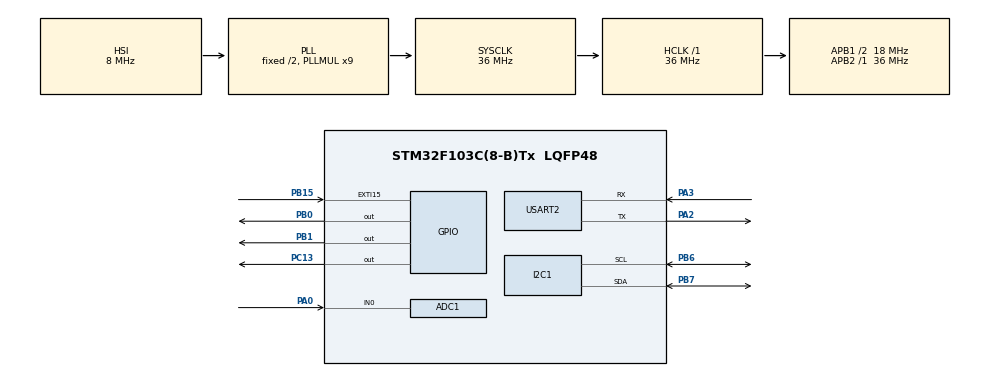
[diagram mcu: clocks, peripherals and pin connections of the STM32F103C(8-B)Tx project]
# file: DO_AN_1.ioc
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ADC1.Channel-2\#ChannelRegularConversion=ADC_CHANNEL_0
ADC1.ContinuousConvMode=ENABLE
ADC1.NbrOfConversionFlag=1
ADC1.Rank-2\#ChannelRegularConversion=1
ADC1.SamplingTime-2\#ChannelRegularConversion=ADC_SAMPLETIME_239CYCLES_5
ADC1.master=1
Mcu.Family=STM32F1
Mcu.Name=STM32F103C(8-B)Tx
Mcu.Package=LQFP48
NVIC.ADC1_2_IRQn=true\:6\:0\:true\:false\:true\:true\:true\:true
NVIC.EXTI15_10_IRQn=true\:0\:0\:false\:false\:true\:true\:true\:true
NVIC.PriorityGroup=NVIC_PRIORITYGROUP_4
NVIC.TIM2_IRQn=true\:5\:0\:true\:false\:true\:true\:true\:true
NVIC.TIM3_IRQn=true\:1\:0\:true\:false\:true\:true\:true\:true
NVIC.USART2_IRQn=true\:0\:0\:false\:false\:true\:true\:true\:true
PA0-WKUP.Signal=ADCx_IN0
PA2.Mode=Asynchronous
PA2.Signal=USART2_TX
PA3.Mode=Asynchronous
PA3.Signal=USART2_RX
PB0.Signal=GPIO_Output
PB1.Signal=GPIO_Output
PB15.GPIO_ModeDefaultEXTI=GPIO_MODE_IT_FALLING
PB15.GPIO_PuPd=GPIO_PULLUP
PB15.Signal=GPXTI15
PB6.Mode=I2C
PB6.Signal=I2C1_SCL
PB7.Mode=I2C
PB7.Signal=I2C1_SDA
PC13-TAMPER-RTC.Signal=GPIO_Output
PD0-OSC_IN.Mode=HSE-External-Oscillator
PD0-OSC_IN.Signal=RCC_OSC_IN
PD1-OSC_OUT.Mode=HSE-External-Oscillator
PD1-OSC_OUT.Signal=RCC_OSC_OUT
ProjectManager.HeapSize=0x200
ProjectManager.StackSize=0x400
ProjectManager.TargetToolchain=MDK-ARM V5.32
RCC.ADCPresc=RCC_ADCPCLK2_DIV4
RCC.AHBFreq_Value=36000000
RCC.APB1CLKDivider=RCC_HCLK_DIV2
RCC.APB1Freq_Value=18000000
RCC.APB1TimFreq_Value=36000000
RCC.APB2Freq_Value=36000000
RCC.APB2TimFreq_Value=36000000
RCC.HCLKFreq_Value=36000000
RCC.PLLMUL=RCC_PLL_MUL9
RCC.SYSCLKFreq_VALUE=36000000
RCC.SYSCLKSource=RCC_SYSCLKSOURCE_PLLCLK
RCC.USBFreq_Value=36000000
SH.ADCx_IN0.0=ADC1_IN0,IN0
TIM1.AutoReloadPreload=TIM_AUTORELOAD_PRELOAD_ENABLE
TIM1.Period=65535
TIM1.Prescaler=35
TIM2.AutoReloadPreload=TIM_AUTORELOAD_PRELOAD_ENABLE
TIM2.Period=1999
TIM2.Prescaler=35
TIM3.AutoReloadPreload=TIM_AUTORELOAD_PRELOAD_ENABLE
TIM3.Period=49999
TIM3.Prescaler=35
TIM4.Prescaler=35
USART2.VirtualMode=VM_ASYNC
VP_SYS_VS_ND.Mode=No_Debug
VP_TIM1_VS_ClockSourceINT.Mode=Internal
VP_TIM2_VS_ClockSourceINT.Mode=Internal
VP_TIM3_VS_ClockSourceINT.Mode=Internal
VP_TIM4_VS_ClockSourceINT.Mode=Internal
board=custom

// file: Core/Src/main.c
/* USER CODE BEGIN Header */
/**
 ******************************************************************************
 * @file           : main.c
 * @brief          : Main program body
 ******************************************************************************
 * @attention
 *
 * Copyright (c) 2024 STMicroelectronics.
 * All rights reserved.
 *
 * This software is licensed under terms that can be found in the LICENSE file
 * in the root directory of this software component.
 * If no LICENSE file comes with this software, it is provided AS-IS.
 *
 ******************************************************************************
 */
/* USER CODE END Header */
#include "main.h"

/* USER CODE BEGIN Includes */
#include "humd.h"
#include "Temp.h"
#include "LCD_I2C.h"
#include "Queue.h"
#include "string.h"
/* USER CODE END Includes */

/* USER CODE BEGIN PTD */
typedef enum user
{
  Mode_Normal,
  Mode_Humd,
  Mode_Temp
} user_t;
user_t Mode = Mode_Normal;
/* USER CODE END PTD */

/* USER CODE BEGIN PD */
#define TIMEOUT_ADC 500U
#define UART_BUFFER_LEN 6
#define START_BYTE 1
#define END_BYTE 2
#define ERROR_FRAME 3
/* USER CODE END PD */

ADC_HandleTypeDef hadc1;

I2C_HandleTypeDef hi2c1;

TIM_HandleTypeDef htim1;
TIM_HandleTypeDef htim2;
TIM_HandleTypeDef htim3;
TIM_HandleTypeDef htim4;

UART_HandleTypeDef huart2;

/* USER CODE BEGIN PV */
queue_t xQueue[10] = {None, NULL};
int check;
int check10;
int check3;
uint16_t frequency;
uint16_t Humd1;
uint16_t humd;
uint16_t frequency1;
uint8_t current;
uint8_t flag_ADC = 0;
uint8_t period;

// UART
uint8_t ucRxData;
uint8_t ucRxBuffer[UART_BUFFER_LEN] = {0};
uint8_t ucRxFlag = 0;
uint8_t ucRxCnt = 0;
uint8_t ucRxBuffer_c[6];

/* USER CODE END PV */

void SystemClock_Config(void);
static void MX_GPIO_Init(void);
static void MX_I2C1_Init(void);
static void MX_TIM1_Init(void);
static void MX_ADC1_Init(void);
static void MX_USART2_UART_Init(void);
static void MX_TIM2_Init(void);
static void MX_TIM3_Init(void);
static void MX_TIM4_Init(void);
/* USER CODE BEGIN PFP */
void Task_Humd(void);
void Task_Temp(void);
void Task_LCD(void);
void Task_UART(void);
/* USER CODE END PFP */

/* USER CODE BEGIN 0 */
void check2()
{
}

/* USER CODE END 0 */

int main(void)
{

  /* MCU Configuration--------------------------------------------------------*/

  /* Reset of all peripherals, Initializes the Flash interface and the Systick. */
  HAL_Init();

  /* Configure the system clock */
  SystemClock_Config();

  /* Initialize all configured peripherals */
  MX_GPIO_Init();
  MX_I2C1_Init();
  MX_TIM1_Init();
  MX_ADC1_Init();
  MX_USART2_UART_Init();
  MX_TIM2_Init();
  MX_TIM3_Init();
  MX_TIM4_Init();
  /* USER CODE BEGIN 2 */
  // check = Sizeof_Queue_Current(xQueue);
  LCD_I2C_Init();
  HAL_TIM_Base_Start(&htim1);
  HAL_TIM_Base_Start_IT(&htim2);
	HAL_TIM_Base_Start_IT(&htim3);
  HAL_UART_Receive_IT(&huart2, &ucRxData, 1);
  /* USER CODE END 2 */

  /* Infinite loop */
  while (1)
  {

    /* USER CODE BEGIN 3 */
    while (Sizeof_Queue_Current(xQueue) != 0)
    {
      //check = Sizeof_Queue_Current(xQueue);
      (*xQueue[Sizeof_Queue_Current(xQueue) - 1].Func)();
    }
  }
  /* USER CODE END 3 */
}

void SystemClock_Config(void)
{
  RCC_OscInitTypeDef RCC_OscInitStruct = {0};
  RCC_ClkInitTypeDef RCC_ClkInitStruct = {0};
  RCC_PeriphCLKInitTypeDef PeriphClkInit = {0};

  /** Initializes the RCC Oscillators according to the specified parameters
  * in the RCC_OscInitTypeDef structure.
  */
  RCC_OscInitStruct.OscillatorType = RCC_OSCILLATORTYPE_HSI;
  RCC_OscInitStruct.HSIState = RCC_HSI_ON;
  RCC_OscInitStruct.HSICalibrationValue = RCC_HSICALIBRATION_DEFAULT;
  RCC_OscInitStruct.PLL.PLLState = RCC_PLL_ON;
  RCC_OscInitStruct.PLL.PLLSource = RCC_PLLSOURCE_HSI_DIV2;
  RCC_OscInitStruct.PLL.PLLMUL = RCC_PLL_MUL9;
  if (HAL_RCC_OscConfig(&RCC_OscInitStruct) != HAL_OK)
  {
    Error_Handler();
  }

  /** Initializes the CPU, AHB and APB buses clocks
  */
  RCC_ClkInitStruct.ClockType = RCC_CLOCKTYPE_HCLK|RCC_CLOCKTYPE_SYSCLK
                              |RCC_CLOCKTYPE_PCLK1|RCC_CLOCKTYPE_PCLK2;
  RCC_ClkInitStruct.SYSCLKSource = RCC_SYSCLKSOURCE_PLLCLK;
  RCC_ClkInitStruct.AHBCLKDivider = RCC_SYSCLK_DIV1;
  RCC_ClkInitStruct.APB1CLKDivider = RCC_HCLK_DIV2;
  RCC_ClkInitStruct.APB2CLKDivider = RCC_HCLK_DIV1;

  if (HAL_RCC_ClockConfig(&RCC_ClkInitStruct, FLASH_LATENCY_1) != HAL_OK)
  {
    Error_Handler();
  }
  PeriphClkInit.PeriphClockSelection = RCC_PERIPHCLK_ADC;
  PeriphClkInit.AdcClockSelection = RCC_ADCPCLK2_DIV4;
  if (HAL_RCCEx_PeriphCLKConfig(&PeriphClkInit) != HAL_OK)
  {
    Error_Handler();
  }
}

static void MX_ADC1_Init(void)
{

  ADC_ChannelConfTypeDef sConfig = {0};

  /** Common config
  */
  hadc1.Instance = ADC1;
  hadc1.Init.ScanConvMode = ADC_SCAN_DISABLE;
  hadc1.Init.ContinuousConvMode = ENABLE;
  hadc1.Init.DiscontinuousConvMode = DISABLE;
  hadc1.Init.ExternalTrigConv = ADC_SOFTWARE_START;
  hadc1.Init.DataAlign = ADC_DATAALIGN_RIGHT;
  hadc1.Init.NbrOfConversion = 1;
  if (HAL_ADC_Init(&hadc1) != HAL_OK)
  {
    Error_Handler();
  }

  /** Configure Regular Channel
  */
  sConfig.Channel = ADC_CHANNEL_0;
  sConfig.Rank = ADC_REGULAR_RANK_1;
  sConfig.SamplingTime = ADC_SAMPLETIME_239CYCLES_5;
  if (HAL_ADC_ConfigChannel(&hadc1, &sConfig) != HAL_OK)
  {
    Error_Handler();
  }

}

static void MX_I2C1_Init(void)
{

  hi2c1.Instance = I2C1;
  hi2c1.Init.ClockSpeed = 100000;
  hi2c1.Init.DutyCycle = I2C_DUTYCYCLE_2;
  hi2c1.Init.OwnAddress1 = 0;
  hi2c1.Init.AddressingMode = I2C_ADDRESSINGMODE_7BIT;
  hi2c1.Init.DualAddressMode = I2C_DUALADDRESS_DISABLE;
  hi2c1.Init.OwnAddress2 = 0;
  hi2c1.Init.GeneralCallMode = I2C_GENERALCALL_DISABLE;
  hi2c1.Init.NoStretchMode = I2C_NOSTRETCH_DISABLE;
  if (HAL_I2C_Init(&hi2c1) != HAL_OK)
  {
    Error_Handler();
  }

}

static void MX_TIM1_Init(void)
{

  TIM_ClockConfigTypeDef sClockSourceConfig = {0};
  TIM_MasterConfigTypeDef sMasterConfig = {0};

  htim1.Instance = TIM1;
  htim1.Init.Prescaler = 35;
  htim1.Init.CounterMode = TIM_COUNTERMODE_UP;
  htim1.Init.Period = 65535;
  htim1.Init.ClockDivision = TIM_CLOCKDIVISION_DIV1;
  htim1.Init.RepetitionCounter = 0;
  htim1.Init.AutoReloadPreload = TIM_AUTORELOAD_PRELOAD_ENABLE;
  if (HAL_TIM_Base_Init(&htim1) != HAL_OK)
  {
    Error_Handler();
  }
  sClockSourceConfig.ClockSource = TIM_CLOCKSOURCE_INTERNAL;
  if (HAL_TIM_ConfigClockSource(&htim1, &sClockSourceConfig) != HAL_OK)
  {
    Error_Handler();
  }
  sMasterConfig.MasterOutputTrigger = TIM_TRGO_RESET;
  sMasterConfig.MasterSlaveMode = TIM_MASTERSLAVEMODE_DISABLE;
  if (HAL_TIMEx_MasterConfigSynchronization(&htim1, &sMasterConfig) != HAL_OK)
  {
    Error_Handler();
  }

}

static void MX_TIM2_Init(void)
{

  TIM_ClockConfigTypeDef sClockSourceConfig = {0};
  TIM_MasterConfigTypeDef sMasterConfig = {0};

  htim2.Instance = TIM2;
  htim2.Init.Prescaler = 35;
  htim2.Init.CounterMode = TIM_COUNTERMODE_UP;
  htim2.Init.Period = 19999;
  htim2.Init.ClockDivision = TIM_CLOCKDIVISION_DIV1;
  htim2.Init.AutoReloadPreload = TIM_AUTORELOAD_PRELOAD_ENABLE;
  if (HAL_TIM_Base_Init(&htim2) != HAL_OK)
  {
    Error_Handler();
  }
  sClockSourceConfig.ClockSource = TIM_CLOCKSOURCE_INTERNAL;
  if (HAL_TIM_ConfigClockSource(&htim2, &sClockSourceConfig) != HAL_OK)
  {
    Error_Handler();
  }
  sMasterConfig.MasterOutputTrigger = TIM_TRGO_RESET;
  sMasterConfig.MasterSlaveMode = TIM_MASTERSLAVEMODE_DISABLE;
  if (HAL_TIMEx_MasterConfigSynchronization(&htim2, &sMasterConfig) != HAL_OK)
  {
    Error_Handler();
  }

}

static void MX_TIM3_Init(void)
{

  TIM_ClockConfigTypeDef sClockSourceConfig = {0};
  TIM_MasterConfigTypeDef sMasterConfig = {0};

  htim3.Instance = TIM3;
  htim3.Init.Prescaler = 35;
  htim3.Init.CounterMode = TIM_COUNTERMODE_UP;
  htim3.Init.Period = 49999;
  htim3.Init.ClockDivision = TIM_CLOCKDIVISION_DIV1;
  htim3.Init.AutoReloadPreload = TIM_AUTORELOAD_PRELOAD_ENABLE;
  if (HAL_TIM_Base_Init(&htim3) != HAL_OK)
  {
    Error_Handler();
  }
  sClockSourceConfig.ClockSource = TIM_CLOCKSOURCE_INTERNAL;
  if (HAL_TIM_ConfigClockSource(&htim3, &sClockSourceConfig) != HAL_OK)
  {
    Error_Handler();
  }
  sMasterConfig.MasterOutputTrigger = TIM_TRGO_RESET;
  sMasterConfig.MasterSlaveMode = TIM_MASTERSLAVEMODE_DISABLE;
  if (HAL_TIMEx_MasterConfigSynchronization(&htim3, &sMasterConfig) != HAL_OK)
  {
    Error_Handler();
  }

}

static void MX_TIM4_Init(void)
{

  TIM_ClockConfigTypeDef sClockSourceConfig = {0};
  TIM_MasterConfigTypeDef sMasterConfig = {0};

  htim4.Instance = TIM4;
  htim4.Init.Prescaler = 35;
  htim4.Init.CounterMode = TIM_COUNTERMODE_UP;
  htim4.Init.Period = 65535;
  htim4.Init.ClockDivision = TIM_CLOCKDIVISION_DIV1;
  htim4.Init.AutoReloadPreload = TIM_AUTORELOAD_PRELOAD_DISABLE;
  if (HAL_TIM_Base_Init(&htim4) != HAL_OK)
  {
    Error_Handler();
  }
  sClockSourceConfig.ClockSource = TIM_CLOCKSOURCE_INTERNAL;
  if (HAL_TIM_ConfigClockSource(&htim4, &sClockSourceConfig) != HAL_OK)
  {
    Error_Handler();
  }
  sMasterConfig.MasterOutputTrigger = TIM_TRGO_RESET;
  sMasterConfig.MasterSlaveMode = TIM_MASTERSLAVEMODE_DISABLE;
  if (HAL_TIMEx_MasterConfigSynchronization(&htim4, &sMasterConfig) != HAL_OK)
  {
    Error_Handler();
  }

}

static void MX_USART2_UART_Init(void)
{

  huart2.Instance = USART2;
  huart2.Init.BaudRate = 115200;
  huart2.Init.WordLength = UART_WORDLENGTH_8B;
  huart2.Init.StopBits = UART_STOPBITS_1;
  huart2.Init.Parity = UART_PARITY_NONE;
  huart2.Init.Mode = UART_MODE_TX_RX;
  huart2.Init.HwFlowCtl = UART_HWCONTROL_NONE;
  huart2.Init.OverSampling = UART_OVERSAMPLING_16;
  if (HAL_UART_Init(&huart2) != HAL_OK)
  {
    Error_Handler();
  }

}

static void MX_GPIO_Init(void)
{
  GPIO_InitTypeDef GPIO_InitStruct = {0};

  /* GPIO Ports Clock Enable */
  __HAL_RCC_GPIOC_CLK_ENABLE();
  __HAL_RCC_GPIOD_CLK_ENABLE();
  __HAL_RCC_GPIOA_CLK_ENABLE();
  __HAL_RCC_GPIOB_CLK_ENABLE();

  /*Configure GPIO pin Output Level */
  HAL_GPIO_WritePin(GPIOC, GPIO_PIN_13, GPIO_PIN_RESET);

  /*Configure GPIO pin Output Level */
  HAL_GPIO_WritePin(GPIOB, GPIO_PIN_0|GPIO_PIN_1, GPIO_PIN_RESET);

  /*Configure GPIO pin : PC13 */
  GPIO_InitStruct.Pin = GPIO_PIN_13;
  GPIO_InitStruct.Mode = GPIO_MODE_OUTPUT_PP;
  GPIO_InitStruct.Pull = GPIO_NOPULL;
  GPIO_InitStruct.Speed = GPIO_SPEED_FREQ_LOW;
  HAL_GPIO_Init(GPIOC, &GPIO_InitStruct);

  /*Configure GPIO pins : PB0 PB1 */
  GPIO_InitStruct.Pin = GPIO_PIN_0|GPIO_PIN_1;
  GPIO_InitStruct.Mode = GPIO_MODE_OUTPUT_PP;
  GPIO_InitStruct.Pull = GPIO_NOPULL;
  GPIO_InitStruct.Speed = GPIO_SPEED_FREQ_LOW;
  HAL_GPIO_Init(GPIOB, &GPIO_InitStruct);

  /*Configure GPIO pin : PB15 */
  GPIO_InitStruct.Pin = GPIO_PIN_15;
  GPIO_InitStruct.Mode = GPIO_MODE_IT_FALLING;
  GPIO_InitStruct.Pull = GPIO_PULLUP;
  HAL_GPIO_Init(GPIOB, &GPIO_InitStruct);

  /* EXTI interrupt init*/
  HAL_NVIC_SetPriority(EXTI15_10_IRQn, 0, 0);
  HAL_NVIC_EnableIRQ(EXTI15_10_IRQn);

}

/* USER CODE BEGIN 4 */
void HAL_UART_RxCpltCallback(UART_HandleTypeDef *huart)
{
  if (ucRxData == '&')
  {
    memset((char *)ucRxBuffer, 0, strlen((char *)ucRxBuffer));
    ucRxBuffer[0] = ucRxData;
    ucRxFlag = START_BYTE;
    HAL_UART_Receive_IT(&huart2, &ucRxData, 1);
  }
  else if (ucRxFlag == START_BYTE && ucRxCnt < UART_BUFFER_LEN)
  {
    ucRxBuffer[++ucRxCnt] = ucRxData;
    if (ucRxData == '*')
    {
      // xEventGroupSetBitsFromISR(DISPLAY_GROUP, BIT_RECV, &xHigherPriorityTaskWoken);
			check++;
      Push_Queue(xQueue, IRQ_Event_UART_Recv, &Task_UART, 0, ucRxBuffer);
      memset((char *)ucRxBuffer, 0, strlen((char *)ucRxBuffer));
      ucRxCnt = 0;
      ucRxFlag = 0;
      HAL_UART_Receive_IT(&huart2, &ucRxData, 1);
    }
    else
      HAL_UART_Receive_IT(&huart2, &ucRxData, 1);
  }
  else if (ucRxCnt == UART_BUFFER_LEN)
  {
    ucRxFlag = ERROR_FRAME;
    memset((char *)ucRxBuffer, 0, strlen((char *)ucRxBuffer));
    ucRxCnt = 0;
    HAL_UART_Receive_IT(&huart2, &ucRxData, 1);
  }
  HAL_UART_Receive_IT(&huart2, &ucRxData, 1);
}

void HAL_TIM_PeriodElapsedCallback(TIM_HandleTypeDef *htim)
{
  //check10++;
  if (htim->Instance == htim2.Instance)
  {
    Push_Queue(xQueue, IRQ_Event_Timer2, &Task_Temp, 0, NULL);
  }
  if (htim->Instance == htim3.Instance)
  {
    static uint8_t turn = 0;
    turn++;
    if( turn >= 100)
    {
     turn = 0;
     //check10++;
     Push_Queue(xQueue, IRQ_Event_Timer3, &Task_Temp, 0, NULL);
     Push_Queue(xQueue, IRQ_Event_Timer3, &Task_Humd, 0, NULL);
    }

  }

  /* Prevent unused argument(s) compilation warning */
  // UNUSED(htim);

  /* NOTE : This function should not be modified, when the callback is needed,
            the HAL_TIM_PeriodElapsedCallback could be implemented in the user file
   */
}

void HAL_ADC_ConvCpltCallback(ADC_HandleTypeDef *hadc)
{
  if (hadc->Instance == hadc1.Instance)
  {
    flag_ADC = 1;
  }
}

void HAL_GPIO_EXTI_Callback(uint16_t GPIO_Pin)
{
  check3++;
  static int a = 0;
  a++;

  // uint16_t frequency;
  uint32_t timer1_count = __HAL_TIM_GET_COUNTER(&htim1); // lay gia tri moi cua timer
  static uint32_t lastTime = 0;
  uint32_t period = (timer1_count - lastTime);

  // tinh tan so
  frequency = (1000000 / period); // Chuyen doi ra HZ

  lastTime = timer1_count; // gia tri cua cua timer
  if (a == 100)
  {
    a = 0;
    Push_Queue(xQueue, IRQ_Event_Fre, &Task_Humd, frequency, NULL);
  }
}

void Task_Humd()
{
  uint8_t current = Sizeof_Queue_Current(xQueue);
  if (xQueue[current - 1].State == IRQ_Event_Fre)
  {
    frequency1 = xQueue[current - 1].data;
    Pop_Queue(xQueue);
    humd = Get_Humd(frequency1 - 700);
    Push_Queue(xQueue, Task_End_Event_Humd, &Task_LCD, humd, NULL);
  }
  else if(xQueue[current - 1].State == IRQ_Event_Timer3)
  {
    Pop_Queue(xQueue);
    Push_Queue(xQueue, IRQ_Event_UART_TransH, &Task_UART, humd, NULL);
  }
  else
  {
    Pop_Queue(xQueue);
  }
}

void Task_Temp()
{
  static double temp;
  uint8_t current = Sizeof_Queue_Current(xQueue);
  if (xQueue[current - 1].State == IRQ_Event_Timer2)
  {
    Pop_Queue(xQueue);
    uint16_t adc;
    HAL_ADC_Start_IT(&hadc1);
    int time = HAL_GetTick();
    while (flag_ADC != 1 && ((HAL_GetTick() - time) < TIMEOUT_ADC));
    if (flag_ADC == 1)
    {
      adc = HAL_ADC_GetValue(&hadc1); // Lay gia tri cua ADC
      temp = temp_convert(adc) * 10;
      Push_Queue(xQueue, Task_End_Event_Temp, &Task_LCD, (uint16_t)temp, NULL);
      flag_ADC = 0;
    }
  }
  else if(xQueue[current - 1].State == IRQ_Event_Timer3)
  {
    Pop_Queue(xQueue);
    Push_Queue(xQueue, IRQ_Event_UART_TransT, &Task_UART,(uint16_t)temp, NULL);
  }
  else
  {
    Pop_Queue(xQueue);
  }
}

void Task_LCD()
{
  // check++;
  uint8_t current = Sizeof_Queue_Current(xQueue);
  if (xQueue[current - 1].State == Task_End_Event_Humd)
  {
    Humd1 = xQueue[current - 1].data;
    Pop_Queue(xQueue);
    LCD_I2C_Set_Cursor(0, 0);
    LCD_I2C_Write_String("Humd:");
    LCD_I2C_WRITE_NUMBER(((int)Humd1));
    //HAL_Delay(100);
  }
  else if (xQueue[current - 1].State == Task_End_Event_Temp)
  {
    double temp = ((double)xQueue[current - 1].data) / 10;
    Pop_Queue(xQueue);
    LCD_I2C_Set_Cursor(1, 0);
    LCD_I2C_Write_String("Temp:");
    LCD_I2C_WRITE_Num_f(temp);
    //HAL_Delay(100);
  }
  else
  {
    Pop_Queue(xQueue);
  }
}

void Task_UART()
{
	check++;
  uint8_t current = Sizeof_Queue_Current(xQueue);
  if (xQueue[current - 1].State == IRQ_Event_UART_Recv)
  {
		//check++;
    uint8_t ucRxBuffer_c[6];
    memset((char *)ucRxBuffer_c, 0, strlen((char *)ucRxBuffer_c));
    strcpy( (char*) ucRxBuffer_c, (char*) xQueue[current - 1].array);
		Pop_Queue(xQueue);
    if (strcmp( (char *)ucRxBuffer_c, "&norm*") == 0)
      Mode = Mode_Normal;
    else if (strcmp((char *)ucRxBuffer_c, "&humd*") == 0)
      Mode = Mode_Humd;
    else if (strcmp((char *)ucRxBuffer_c, "&temp*") == 0)
      Mode = Mode_Temp;
    else if (ucRxBuffer_c[1] == 'T' && ucRxBuffer_c[2] == '_')
    {
      // check++;
      uint8_t per[2] = {ucRxBuffer_c[3], ucRxBuffer_c[4]};
      period = atoi((char *)per);
    }
  }
  else if ( (xQueue[current - 1].State == IRQ_Event_UART_TransH) || (xQueue[current - 1].State == IRQ_Event_UART_TransT)  )
  {
    check10++;
    char str[100];
    double Temp = 0;
    uint8_t Humd = 0;
    if(xQueue[current - 1].State == IRQ_Event_UART_TransT)
    {
    Temp = ((double)(xQueue[current - 1].data))/10;
    }
    if(xQueue[current - 1].State == IRQ_Event_UART_TransH)
    {
     Humd = (uint8_t) xQueue[current - 1].data;
    }
    Pop_Queue(xQueue);
    switch (Mode)
    {
    case Mode_Temp:
      // if(flag == 1)
      //{
      if (Temp != 0)
      {
      sprintf(str, " Temp = %.1lf\n", Temp);
      HAL_UART_Transmit(&huart2, (uint8_t *)str, strlen(str), HAL_MAX_DELAY);
      }
      // vTaskDelay(100);
      //  flag = 0;
      //  }
      break;
    case Mode_Humd:
      // if(flag == 1)
      //{
      if( Humd != 0 )
      {
      sprintf(str, "Humd = %d\n", Humd);
      HAL_UART_Transmit(&huart2, (uint8_t *)str, strlen(str), HAL_MAX_DELAY);
      }
      // vTaskDelay(100);
      // flag = 0;
      // }
      break;
    case Mode_Normal:
      // if(flag == 1)
      //{
      //Get_Time();
      if(Humd != 0 )
      {
      sprintf(str, "Humd = %d\n", Humd);
      HAL_UART_Transmit(&huart2, (uint8_t *)str, strlen(str), HAL_MAX_DELAY);
      }
     // vTaskDelay(100);
      if(Temp != 0 )
      {
      sprintf(str, "Temp = %.1lf\n", Temp);
      HAL_UART_Transmit(&huart2, (uint8_t *)str, strlen(str), HAL_MAX_DELAY);
      }
      // vTaskDelay(100);
      // flag = 0;
      // }
      break;
    //default:
        //trans("Nhap sai Mode vui long nhap lai\n");
      // vTaskDelay(5);
    }

    // vTaskDelay(5);
  }
}

/* USER CODE END 4 */

void Error_Handler(void)
{
  __disable_irq();
  while (1)
  {
  }
}
